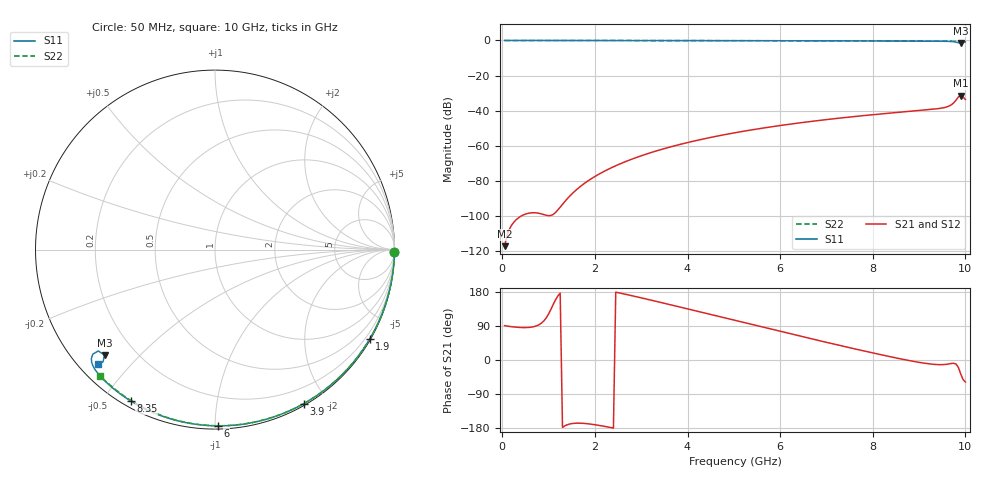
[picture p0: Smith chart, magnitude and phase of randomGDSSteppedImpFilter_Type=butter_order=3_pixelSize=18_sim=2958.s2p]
! freq	dB(S11)	phase(S11)	dB(S12)	phase(S12)
!  dB(S21)	phase(S21)	dB(S22)	phase(S22)
!S-par simulation data
#  GHz  S  DB  R 50
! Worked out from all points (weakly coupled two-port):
!   200 points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, 50 MHz to 10 GHz, reference 50 ohm
!   highest |S21| = -31.42 dB at 9.9 GHz (marker M1); lowest = -117.3 dB at 50 MHz (marker M2)
!   lowest |S11| = -1.4 dB at 9.9 GHz (marker M3), VSWR 12.41, Z = 4.67 - j19.9 ohm
!   |S11| at or under -10 dB: nowhere
!   |S22| runs from -0.4 to 0.0 dB; largest |S21 - S12| = 0
!   S11 on the Smith chart (normalised r, x): 50 MHz: open; 1.9 GHz: 0.03, -3.72; 3.9 GHz: 0.02, -1.73; 6 GHz: 0.02, -1.01; 8.35 GHz: 0.02, -0.59; 10 GHz: 0.05, -0.41
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0.05  -0.00 -0.8  -117.28 90.6  -117.28 90.6  -0.00 -0.8
0.9  -0.02 -14.4  -99.30 103.5  -99.30 103.5  -0.02 -13.7
1.75  -0.04 -27.8  -81.94 -167.2  -81.94 -167.2  -0.03 -26.4
1.85  -0.04 -29.3  -80.07 -168.3  -80.07 -168.3  -0.04 -27.9
1.9  -0.04 -30.1  -79.19 -169.0  -79.19 -169.0  -0.04 -28.6
2.2  -0.04 -34.7  -74.61 -174.9  -74.61 -174.9  -0.04 -33.0
2.55  -0.05 -40.1  -70.27 176.4  -70.27 176.4  -0.05 -38.1
2.95  -0.06 -46.1  -66.20 165.5  -66.20 165.5  -0.06 -43.9
3.4  -0.07 -52.8  -62.40 152.5  -62.40 152.5  -0.07 -50.2
3.9  -0.08 -60.1  -58.85 137.8  -58.85 137.8  -0.08 -57.2
5.05  -0.12 -76.3  -52.50 103.7  -52.50 103.7  -0.11 -72.7
6  -0.16 -89.1  -48.50 75.6  -48.50 75.6  -0.15 -84.9
6.7  -0.19 -98.3  -46.05 55.2  -46.05 55.2  -0.18 -93.7
7.5  -0.24 -108.5  -43.66 32.4  -43.66 32.4  -0.23 -103.4
8.35  -0.31 -119.1  -41.48 9.4  -41.48 9.4  -0.29 -113.4
9.25  -0.41 -130.6  -39.36 -10.6  -39.36 -10.6  -0.37 -123.8
9.55  -0.49 -134.9  -38.23 -11.9  -38.23 -11.9  -0.40 -127.2
9.7  -0.62 -137.6  -36.63 -9.1  -36.63 -9.1  -0.41 -128.9
9.75  -0.74 -138.6  -35.53 -8.6  -35.53 -8.6  -0.42 -129.4
9.85  -1.30 -139.0  -32.17 -20.0  -32.17 -20.0  -0.42 -130.5
9.9  -1.40 -136.3  -31.42 -37.0  -31.42 -37.0  -0.42 -131.1
10  -0.81 -135.6  -33.64 -58.2  -33.64 -58.2  -0.43 -132.4
